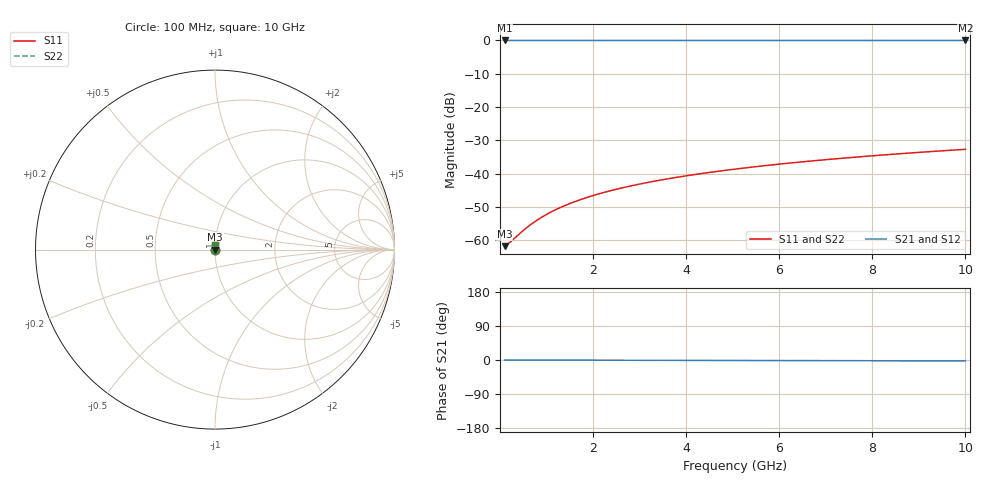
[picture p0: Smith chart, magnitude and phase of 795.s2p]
# Hz S RI R 50.00
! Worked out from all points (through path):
!   100 points, 100 MHz to 10 GHz, reference 50 ohm
!   highest |S21| = -0.01 dB at 100 MHz (marker M1); lowest = 0.0 dB at 10 GHz (marker M2)
!   lowest |S11| = -61.7 dB at 100 MHz (marker M3), VSWR 1.00, Z = 50.1 + j0.0231 ohm
!   |S11| at or under -10 dB: start of sweep to end of sweep
!   |S22| runs from -61.7 to -32.7 dB; largest |S21 - S12| = 0
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1e8  0.000786 0.000231  0.9992 -0.000433  0.9992 -0.000433  0.000786 0.000231
2e8  0.000791 0.000462  0.9992 -0.000865  0.9992 -0.000865  0.000791 0.000462
5e8  0.000803 0.00116  0.9992 -0.00216  0.9992 -0.00216  0.000803 0.00116
6e8  0.000806 0.00139  0.9992 -0.0026  0.9992 -0.0026  0.000806 0.00139
7e8  0.00081 0.00162  0.9992 -0.00303  0.9992 -0.00303  0.00081 0.00162
9e8  0.000816 0.00208  0.9992 -0.00389  0.9992 -0.00389  0.000816 0.00208
1.1e9  0.000823 0.00254  0.9992 -0.00476  0.9992 -0.00476  0.000823 0.00254
1.3e9  0.000831 0.003  0.9992 -0.00562  0.9992 -0.00562  0.000831 0.003
1.5e9  0.000839 0.00347  0.9992 -0.00649  0.9992 -0.00649  0.000839 0.00347
1.8e9  0.000852 0.00416  0.9991 -0.00779  0.9991 -0.00779  0.000852 0.00416
2.1e9  0.000867 0.00485  0.9991 -0.00909  0.9991 -0.00909  0.000867 0.00485
2.5e9  0.000889 0.00578  0.9991 -0.0108  0.9991 -0.0108  0.000889 0.00578
2.9e9  0.000914 0.0067  0.9991 -0.0126  0.9991 -0.0126  0.000914 0.0067
3.4e9  0.00095 0.00786  0.999 -0.0147  0.999 -0.0147  0.00095 0.00786
3.8e9  0.000982 0.00878  0.999 -0.0165  0.999 -0.0165  0.000982 0.00878
4.2e9  0.00102 0.00971  0.9989 -0.0182  0.9989 -0.0182  0.00102 0.00971
5.1e9  0.00111 0.0118  0.9988 -0.0221  0.9988 -0.0221  0.00111 0.0118
5.9e9  0.0012 0.0136  0.9987 -0.0256  0.9987 -0.0256  0.0012 0.0136
6.7e9  0.00131 0.0155  0.9986 -0.029  0.9986 -0.029  0.00131 0.0155
7.5e9  0.00143 0.0174  0.9984 -0.0325  0.9984 -0.0325  0.00143 0.0174
8.4e9  0.00158 0.0194  0.9983 -0.0364  0.9983 -0.0364  0.00158 0.0194
1e10  0.00189 0.0232  0.9979 -0.0434  0.9979 -0.0434  0.00189 0.0232
